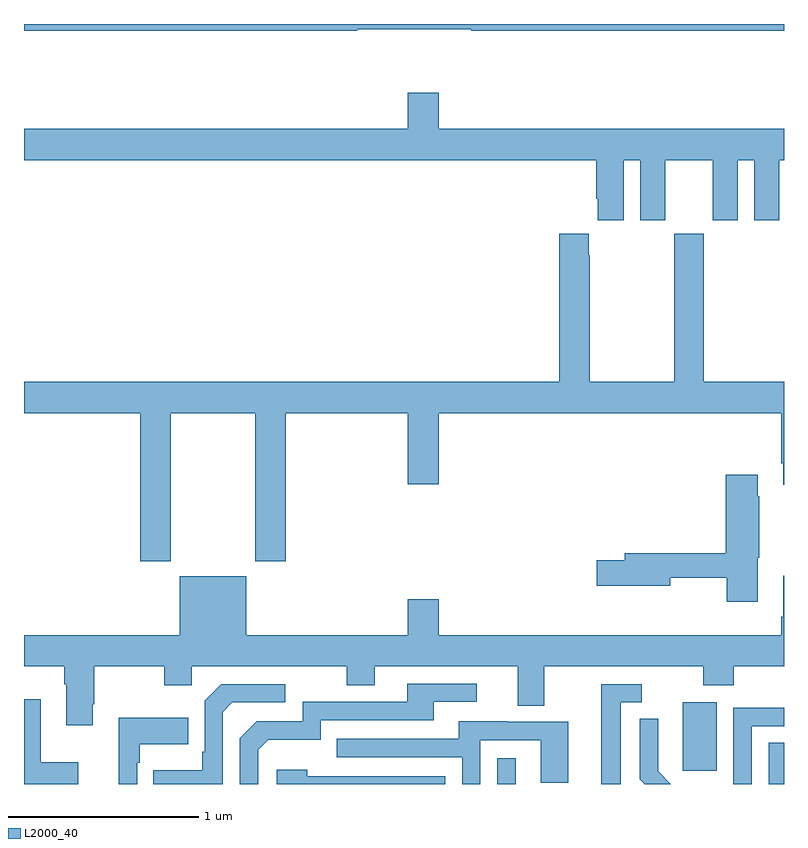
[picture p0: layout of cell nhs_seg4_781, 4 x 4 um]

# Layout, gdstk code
import gdstk
lib = gdstk.Library(unit=1e-6, precision=1e-09)
def R(c, l, rs):  # rectangles x0, y0, x1, y1
    for r in rs: c.add(gdstk.rectangle(r[:2], r[2:], *l))
def P(c, l, *ps):  # polygons
    for p in ps: c.add(gdstk.Polygon(p, *l))
L2000_40 = (2000, 40)

nhs_seg4_781 = lib.new_cell('nhs_seg4_781')
R(nhs_seg4_781, L2000_40, [(153.492,762.9,153.589,763.036), (154.919,762.9,155,763.118), (154.466,762.969,154.645,763.33)])
P(nhs_seg4_781, L2000_40, [(152.755,766.872),(153.355,766.872),(153.355,766.864),(155,766.864),(155,766.9),(151,766.9),(151,766.864),(152.755,766.864)],
  [(154.156,766.184),(154.244,766.184),(154.244,765.867),(154.375,765.867),(154.375,766.184),(154.625,766.184),(154.625,765.867),(154.756,765.867),(154.756,766.184),(154.844,766.184),(154.844,765.867),(154.975,765.867),(154.975,766.184),(155,766.184),(155,766.348),(153.184,766.348),(153.184,766.537),(153.02,766.537),(153.02,766.348),(151,766.348),(151,766.184),(154.013,766.184),(154.013,765.979),(154.019,765.979),(154.019,765.867),(154.156,765.867)],
  [(151,764.852),(151.613,764.852),(151.613,764.073),(151.773,764.073),(151.773,764.852),(152.218,764.852),(152.218,764.073),(152.378,764.073),(152.378,764.852),(153.02,764.852),(153.02,764.478),(153.184,764.478),(153.184,764.852),(154.985,764.852),(154.985,764.587),(154.997,764.587),(154.997,764.475),(155,764.475),(155,765.016),(154.578,765.016),(154.578,765.796),(154.423,765.796),(154.423,765.016),(153.978,765.016),(153.978,765.683),(153.973,765.683),(153.973,765.796),(153.818,765.796),(153.818,765.016),(151,765.016)],
  [(154.861,764.091),(154.869,764.091),(154.869,764.414),(154.861,764.414),(154.861,764.527),(154.694,764.527),(154.694,764.114),(154.163,764.114),(154.163,764.078),(154.014,764.078),(154.014,763.943),(154.402,763.943),(154.402,763.986),(154.699,763.986),(154.699,763.86),(154.861,763.86)],
  [(155,763.996),(154.997,763.996),(154.997,763.78),(154.985,763.78),(154.985,763.684),(153.184,763.684),(153.184,763.873),(153.02,763.873),(153.02,763.684),(152.17,763.684),(152.17,763.993),(151.82,763.993),(151.82,763.684),(151,763.684),(151,763.52),(151.211,763.52),(151.211,763.424),(151.223,763.424),(151.223,763.209),(151.363,763.209),(151.363,763.321),(151.371,763.321),(151.371,763.52),(151.738,763.52),(151.738,763.421),(151.884,763.421),(151.884,763.52),(152.698,763.52),(152.698,763.421),(152.845,763.421),(152.845,763.52),(153.599,763.52),(153.599,763.312),(153.739,763.312),(153.739,763.52),(154.576,763.52),(154.576,763.421),(154.736,763.421),(154.736,763.52),(155,763.52)],
  [(152.232,763.08),(152.285,763.133),(152.562,763.133),(152.562,763.236),(153.157,763.236),(153.157,763.332),(153.382,763.332),(153.382,763.428),(153.017,763.428),(153.017,763.332),(152.466,763.332),(152.466,763.23),(152.226,763.23),(152.136,763.14),(152.136,762.9),(152.232,762.9)],
  [(154.141,763.329),(154.252,763.329),(154.252,763.425),(154.037,763.425),(154.037,762.9),(154.141,762.9)],
  [(152.046,763.278),(152.097,763.329),(152.374,763.329),(152.374,763.425),(152.037,763.425),(151.95,763.338),(151.95,763.069),(151.938,763.069),(151.938,762.973),(151.681,762.973),(151.681,762.9),(152.046,762.9)],
  [(151.285,763.015),(151.087,763.015),(151.087,763.345),(151,763.345),(151,762.9),(151.285,762.9)],
  [(154.83,763.203),(155,763.203),(155,763.302),(154.734,763.302),(154.734,762.9),(154.83,762.9)],
  [(151.596,763.013),(151.609,763.013),(151.609,763.109),(151.865,763.109),(151.865,763.249),(151.499,763.249),(151.499,762.9),(151.596,762.9)],
  [(154.337,762.968),(154.337,763.09),(154.338,763.09),(154.338,763.244),(154.242,763.244),(154.242,762.926),(154.268,762.9),(154.404,762.9)],
  [(153.402,763.131),(153.72,763.131),(153.72,762.907),(153.865,762.907),(153.865,763.227),(153.541,763.227),(153.541,763.231),(153.287,763.231),(153.287,763.137),(152.647,763.137),(152.647,763.041),(153.306,763.041),(153.306,762.9),(153.402,762.9)],
  [(153.216,762.942),(152.492,762.942),(152.492,762.976),(152.331,762.976),(152.331,762.9),(153.216,762.9)])

lib.write_gds('nhs_seg4_781.gds')
